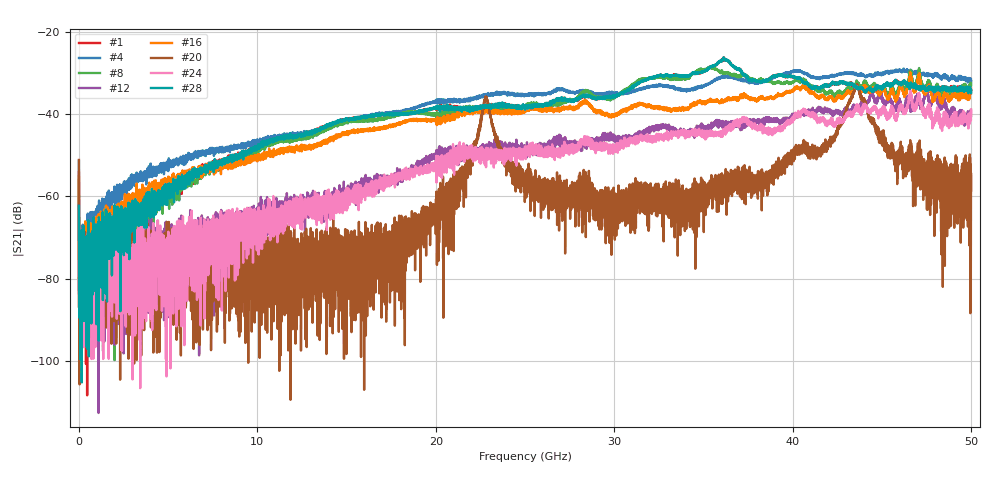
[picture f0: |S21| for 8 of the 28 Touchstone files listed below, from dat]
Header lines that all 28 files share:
!Created with skrf (http://scikit-rf.org).
# Hz S RI R 50.0
!freq ReS11 ImS11 ReS21 ImS21 ReS12 ImS12 ReS22 ImS22
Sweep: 300 kHz to 50 GHz
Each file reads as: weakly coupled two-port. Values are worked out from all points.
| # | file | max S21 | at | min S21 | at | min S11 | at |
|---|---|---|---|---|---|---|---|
| 1 | drift02_57_so1o2.s2p | -26.21 dB | 36.14 GHz | -108.3 dB | 460.3 MHz | -6.9 dB | 20.41 GHz |
| 2 | drift02_57_so1o2o3o4.s2p | -32.93 dB | 43.65 GHz | -113.0 dB | 1.965 GHz | -6.9 dB | 20.41 GHz |
| 3 | drift02_57_so1o2o4.s2p | -33.44 dB | 47.47 GHz | -123.2 dB | 4.2 GHz | -6.9 dB | 20.41 GHz |
| 4 | drift02_57_so1o4.s2p | -28.94 dB | 46.22 GHz | -94.2 dB | 410.3 MHz | -6.9 dB | 20.42 GHz |
| 5 | drift02_57_so2o3.s2p | -27.03 dB | 46.61 GHz | -102.8 dB | 375.3 MHz | -61.7 dB | 46.67 GHz |
| 6 | drift02_57_so2o3o4.s2p | -34.13 dB | 46.6 GHz | -108.6 dB | 2.14 GHz | -6.0 dB | 29.92 GHz |
| 7 | drift02_57_so3.s2p | -30.19 dB | 47.08 GHz | -95.8 dB | 470.3 MHz | -39.7 dB | 35.54 GHz |
| 8 | drift02_57_so3o4.s2p | -28.50 dB | 35.34 GHz | -99.8 dB | 2 GHz | -30.0 dB | 48.97 GHz |
| 9 | drift02_58_so1.s2p | -31.63 dB | 46.19 GHz | -89.7 dB | 120.3 MHz | -6.9 dB | 20.41 GHz |
| 10 | drift02_58_so1o2.s2p | -26.33 dB | 36.12 GHz | -94.1 dB | 175.3 MHz | -6.9 dB | 20.45 GHz |
| 11 | drift02_58_so1o2o3o4.s2p | -32.83 dB | 43.59 GHz | -120.4 dB | 2.965 GHz | -6.9 dB | 20.43 GHz |
| 12 | drift02_58_so1o2o4.s2p | -33.41 dB | 47.49 GHz | -112.6 dB | 1.1 GHz | -6.9 dB | 20.44 GHz |
| 13 | drift02_58_so1o4.s2p | -28.91 dB | 45.97 GHz | -90.5 dB | 5.3 MHz | -6.9 dB | 20.41 GHz |
| 14 | drift02_58_so2o3.s2p | -26.90 dB | 46.61 GHz | -96.0 dB | 155.3 MHz | -58.3 dB | 46.67 GHz |
| 15 | drift02_58_so2o3o4.s2p | -34.57 dB | 46.6 GHz | -106.3 dB | 4.72 GHz | -6.1 dB | 30.04 GHz |
| 16 | drift02_58_so3.s2p | -29.81 dB | 46.6 GHz | -102.9 dB | 55.3 MHz | -41.4 dB | 35.53 GHz |
| 17 | drift02_58_so3o4.s2p | -28.49 dB | 35.38 GHz | -102.9 dB | 465.3 MHz | -30.4 dB | 49.02 GHz |
| 18 | drift02_59_so1.s2p | -31.37 dB | 46.2 GHz | -96.9 dB | 470.3 MHz | -6.9 dB | 20.44 GHz |
| 19 | drift02_59_so1o2.s2p | -26.23 dB | 36.12 GHz | -94.2 dB | 675.3 MHz | -6.9 dB | 20.41 GHz |
| 20 | drift02_59_so1o2o3o4.s2p | -32.72 dB | 43.61 GHz | -109.4 dB | 11.86 GHz | -6.9 dB | 20.4 GHz |
| 21 | drift02_59_so1o2o4.s2p | -33.48 dB | 47.54 GHz | -105.8 dB | 970.3 MHz | -6.9 dB | 20.43 GHz |
| 22 | drift02_59_so1o4.s2p | -29.07 dB | 46.17 GHz | -96.5 dB | 15.3 MHz | -6.9 dB | 20.42 GHz |
| 23 | drift02_59_so2o3.s2p | -26.87 dB | 46.61 GHz | -87.9 dB | 65.3 MHz | -70.3 dB | 46.65 GHz |
| 24 | drift02_59_so2o3o4.s2p | -34.32 dB | 46.61 GHz | -106.6 dB | 3.435 GHz | -6.1 dB | 30.02 GHz |
| 25 | drift02_59_so3.s2p | -29.99 dB | 47.09 GHz | -94.1 dB | 165.3 MHz | -39.0 dB | 35.52 GHz |
| 26 | drift02_59_so3o4.s2p | -28.49 dB | 35.38 GHz | -101.5 dB | 615.3 MHz | -30.7 dB | 49.02 GHz |
| 27 | drift02_60_so1.s2p | -31.60 dB | 46.21 GHz | -105.5 dB | 15.3 MHz | -6.9 dB | 20.42 GHz |
| 28 | drift02_60_so1o2.s2p | -26.29 dB | 36.15 GHz | -105.2 dB | 160.3 MHz | -6.9 dB | 20.43 GHz |
